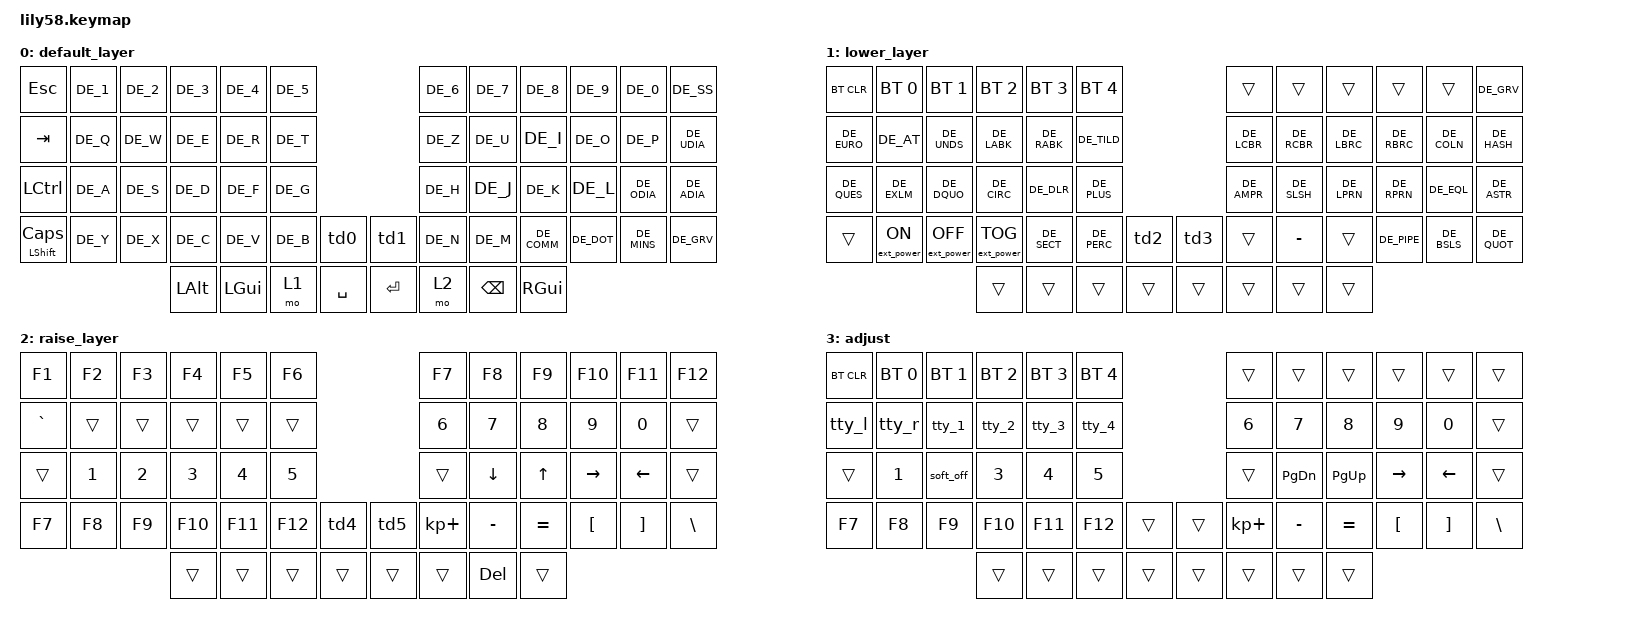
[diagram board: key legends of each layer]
/*
 * Copyright (c) 2020 The ZMK Contributors
 *
 * SPDX-License-Identifier: MIT
 */

/*
Keymap ideas:
+ linux tty keymap: ctrl + alt + F1/2...
+ add a lot of application bindings to third layer to launch different stuff
*/

#include <behaviors.dtsi>
#include <dt-bindings/zmk/keys.h>
#include <dt-bindings/zmk/bt.h>
#include <dt-bindings/zmk/ext_power.h>
#include "keymap_german.h"

// mod tap for shift: hold shift for normal shift, quickly press shift for CAPS
&mt {
    tapping-term-ms = <200>;
};


// third layer when using lower and raise at the same time
/ {
    conditional_layers {
        compatible = "zmk,conditional-layers";
        tri_layer {
            if-layers = <1 2>;
            then-layer = <3>;
        };
    };
};

/ {
  behaviors {
    // tap dance: play/pause, volume down, previous song
      td0: tap_dance_0 {
          compatible = "zmk,behavior-tap-dance";
          #binding-cells = <0>;
          tapping-term-ms = <200>;
          bindings = <&kp C_PP>, <&kp C_VOL_DN>, <&kp C_PREV>;
      };

      // tap dance: music player, volume up, next song
      td1: tap_dance_1 {
          compatible = "zmk,behavior-tap-dance";
          #binding-cells = <0>;
          tapping-term-ms = <200>;
          bindings = <&kp C_AL_MUSIC>, <&kp C_VOL_UP>, <&kp C_NEXT>;
      };

      // tap dance: 変換(use IME), 無変換(deactiveate IME)
      td2: tap_dance_2 {
          compatible = "zmk,behavior-tap-dance";
          #binding-cells = <0>;
          tapping-term-ms = <200>;
          bindings = <&kp INT_HENKAN>, <&kp INT_MUHENKAN>;
      };

      // tap dance: katakana, hiragana
      td3: tap_dance_3 {
          compatible = "zmk,behavior-tap-dance";
          #binding-cells = <0>;
          tapping-term-ms = <200>;
          bindings = <&kp LANG_KATAKANA>, <&kp LANG_HIRAGANA>;
      };

      // tap dance: brightness down, brightness to minimum, auto brightness
      td4: tap_dance_4 {
          compatible = "zmk,behavior-tap-dance";
          #binding-cells = <0>;
          tapping-term-ms = <200>;
          bindings = <&kp C_BRI_DN>, <&kp C_BRI_MIN>, <&kp C_BRI_AUTO>;
      };
      
      // tap dance: brightness up, brightness to maximum, auto brightness
      td5: tap_dance_5 {
          compatible = "zmk,behavior-tap-dance";
          #binding-cells = <0>;
          tapping-term-ms = <200>;
          bindings = <&kp C_BRI_UP>, <&kp C_BRI_MAX>, <&kp C_BRI_AUTO>;
      };
  };
};

/ {
    // on tty go to the tty #(current tty-1), one tty to the left
    macros {
        tty_l: tty_goto_left {
            compatible = "zmk,behavior-macro";
            #binding-cells = <0>;
            bindings
                = <&macro_press &kp LALT>
                , <&macro_tap &kp LEFT>
                , <&macro_release &kp LALT>
                ;
        };

        // on tty go to tty on the right
        tty_r: tty_goto_right {
            compatible = "zmk,behavior-macro";
            #binding-cells = <0>;
            bindings
                = <&macro_press &kp LALT>
                , <&macro_tap &kp RIGHT>
                , <&macro_release &kp LALT>
                ;
        };

      // macros: go to tty 1-12
        tty_1: goto_tty_1 {
            compatible = "zmk,behavior-macro";
            #binding-cells = <0>;
            bindings
                = <&macro_press &kp LCTRL &kp LALT>
                , <&macro_tap &kp F1>
                , <&macro_release &kp LCTRL &kp LALT>
                ;
        };

        tty_2: goto_tty_2 {
            compatible = "zmk,behavior-macro";
            #binding-cells = <0>;
            bindings
                = <&macro_press &kp LCTRL &kp LALT>
                , <&macro_tap &kp F2>
                , <&macro_release &kp LCTRL &kp LALT>
                ;
        };

        tty_3: goto_tty_3 {
            compatible = "zmk,behavior-macro";
            #binding-cells = <0>;
            bindings
                = <&macro_press &kp LCTRL &kp LALT>
                , <&macro_tap &kp F3>
                , <&macro_release &kp LCTRL &kp LALT>
                ;
        };

        tty_4: goto_tty_4 {
            compatible = "zmk,behavior-macro";
            #binding-cells = <0>;
            bindings
                = <&macro_press &kp LCTRL &kp LALT>
                , <&macro_tap &kp F4>
                , <&macro_release &kp LCTRL &kp LALT>
                ;
        };

        // -- defined other tty marcos for completeness
        // tty_5: goto_tty_5 {
        //     label = "goto_tty_5";
        //     compatible = "zmk,behavior-macro";
        //     #binding-cells = <0>;
        //     bindings
        //         = <&macro_press &kp LCTRL &kp LALT>
        //         , <&macro_tap &kp F5>
        //         , <&macro_release &kp LCTRL &kp LALT>
        //         ;
        // };
        //
        // tty_6: goto_tty_6 {
        //     label = "goto_tty_6";
        //     compatible = "zmk,behavior-macro";
        //     #binding-cells = <0>;
        //     bindings
        //         = <&macro_press &kp LCTRL &kp LALT>
        //         , <&macro_tap &kp F6>
        //         , <&macro_release &kp LCTRL &kp LALT>
        //         ;
        // };
        //
        // tty_7: goto_tty_7 {
        //     label = "goto_tty_7";
        //     compatible = "zmk,behavior-macro";
        //     #binding-cells = <0>;
        //     bindings
        //         = <&macro_press &kp LCTRL &kp LALT>
        //         , <&macro_tap &kp F7>
        //         , <&macro_release &kp LCTRL &kp LALT>
        //         ;
        // };
        //
        // tty_8: goto_tty_8 {
        //     label = "goto_tty_8";
        //     compatible = "zmk,behavior-macro";
        //     #binding-cells = <0>;
        //     bindings
        //         = <&macro_press &kp LCTRL &kp LALT>
        //         , <&macro_tap &kp F8>
        //         , <&macro_release &kp LCTRL &kp LALT>
        //         ;
        // };
        //
        // tty_9: goto_tty_9 {
        //     label = "goto_tty_9";
        //     compatible = "zmk,behavior-macro";
        //     #binding-cells = <0>;
        //     bindings
        //         = <&macro_press &kp LCTRL &kp LALT>
        //         , <&macro_tap &kp F9>
        //         , <&macro_release &kp LCTRL &kp LALT>
        //         ;
        // };
        //
        // tty_10: goto_tty_10 {
        //     label = "goto_tty_10";
        //     compatible = "zmk,behavior-macro";
        //     #binding-cells = <0>;
        //     bindings
        //         = <&macro_press &kp LCTRL &kp LALT>
        //         , <&macro_tap &kp F10>
        //         , <&macro_release &kp LCTRL &kp LALT>
        //         ;
        // };
        //
        // tty_11: goto_tty_11 {
        //     label = "goto_tty_11";
        //     compatible = "zmk,behavior-macro";
        //     #binding-cells = <0>;
        //     bindings
        //         = <&macro_press &kp LCTRL &kp LALT>
        //         , <&macro_tap &kp F11>
        //         , <&macro_release &kp LCTRL &kp LALT>
        //         ;
        // };
        //
        // tty_12: goto_tty_12 {
        //     label = "goto_tty_12";
        //     compatible = "zmk,behavior-macro";
        //     #binding-cells = <0>;
        //     bindings
        //         = <&macro_press &kp LCTRL &kp LALT>
        //         , <&macro_tap &kp F12>
        //         , <&macro_release &kp LCTRL &kp LALT>
        //         ;
        // };


    };
};

/ {
	 keymap {
		compatible = "zmk,keymap";

      //------------------------------------------------------------------------------------------------------------------------------------

      // NORMAL

      // |  ESC     |  1    |  2    |  3     |  4     |  5     |                   |  6     |  7      |  8      |  9     |   0   |   `     |
      // |  TAB     |  Q    |  W    |  E     |  R     |  T     |                   |  Y     |  U      |  I      |  O     |   P   |   -     |
      // |  CTRL    |  A    |  S    |  D     |  F     |  G     |                   |  H     |  J      |  K      |  L     |   ;   |   '     |
      // | SHIFT    |  Z    |  X    |  C     |  V     |  B     |   td0  |  |  td1  |  N     |  M      |  ,      |  .     |   /   | SHIFT   |
      //                            |  ALT   | GUI    | LOWER  | SPACE  |  | ENTER | RAISE  | BSPC    | GUI     |

      // LOWER

      //------------------------------------------------------------------------------------------------------------------------------------
      // | BTCLR    | BT1   | BT2   |  BT3   |  BT4   |  BT5   |                   |        |         |         |        |       |    `    |
      // |  F1      |  F2   |  _    |   <    |   >    |   ~    |                   |   {    |    }    |   [     |   ]    |   :   |    #    |
      // |   ?      |  !    |  "    |   ^    |   $    |   +    |                   |   &    |   /     |   (     |   )    |   =   |    *    |
      // |          |       |       |        |   §    |   %    |   td2  |  |  td3  |   n    |   ß     |   "|"   |  |     |   \   |    '    |
      //                            |  ALT   | GUI    | LOWER  | SPACE  |  | ENTER | RAISE  | BSPC    | GUI     |

      // UPPER

      //------------------------------------------------------------------------------------------------------------------------------------
      // |          |       |       |        |        |        |                   |        |         |         |        |       |         |
      // |   `      |  1    |  2    |  3     |  4     |  5     |                   |  6     |   7     |   8     |  9     |   0   |     ü   |
      // |          |  1    |  2    |  3     |  4     |  5     |                   |   h    |   <-    |   v     |  ^     |  ->   |    ä    |
      // |   F7     |  F8   |  F9   |  F10   |  F11   |  F12   |   td4  |  |  td5  |  +     |   ß     |   ´     |  ü     |   +   |   #     |
      //                            |  ALT   | GUI    | LOWER  | SPACE  |  | ENTER | RAISE  | BSPC    | GUI     |

      // ADJUST

      //------------------------------------------------------------------------------------------------------------------------------------
      // |          |       |       |        |        |        |                   |        |         |         |        |       |         |
      // |   `      |  1    |  2    |  3     |  4     |  5     |                   |  6     |   7     |   8     |  9     |   0   |         |
      // |   F1     |  F2   |  F3   |  F4    |  F5    |  F6    |                   |        |   <-    |   v     |  ^     |  ->   |         |
      // |   F7     |  F8   |  F9   |  F10   |  F11   |  F12   |        |  |       |  +     |   -     |   =     |  [     |   ]   |   \     |
      //                            |  ALT   | GUI    | LOWER  | SPACE  |  | ENTER | RAISE  | BSPC    | GUI     |

		default_layer {
			bindings = <
        &kp ESC         &kp DE_1         &kp DE_2          &kp DE_3          &kp DE_4       &kp DE_5                             &kp DE_6    &kp DE_7    &kp DE_8      &kp DE_9     &kp DE_0      &kp DE_SS
        &kp TAB         &kp DE_Q         &kp DE_W          &kp DE_E          &kp DE_R       &kp DE_T                             &kp DE_Z    &kp DE_U    &kp DE_I      &kp DE_O     &kp DE_P      &kp DE_UDIA
        &kp LCTRL       &kp DE_A         &kp DE_S          &kp DE_D          &kp DE_F       &kp DE_G                             &kp DE_H    &kp DE_J    &kp DE_K      &kp DE_L     &kp DE_ODIA   &kp DE_ADIA
        &mt LSHFT CAPS  &kp DE_Y         &kp DE_X          &kp DE_C          &kp DE_V       &kp DE_B     &td0         &td1       &kp DE_N    &kp DE_M    &kp DE_COMM   &kp DE_DOT   &kp DE_MINS   &kp DE_GRV
                                                           &kp LALT          &kp LGUI       &mo 1        &kp SPACE    &kp RET    &mo 2       &kp BSPC    &kp RGUI
			>;
		};

		lower_layer {
			bindings = <
        &bt BT_CLR      &bt BT_SEL 0     &bt BT_SEL 1      &bt BT_SEL 2      &bt BT_SEL 3   &bt BT_SEL 4                         &trans      &trans      &trans        &trans       &trans        &kp DE_GRV
        &kp DE_EURO     &kp DE_AT        &kp DE_UNDS       &kp DE_LABK       &kp DE_RABK    &kp DE_TILD                          &kp DE_LCBR &kp DE_RCBR &kp DE_LBRC   &kp DE_RBRC  &kp DE_COLN   &kp DE_HASH
        &kp DE_QUES     &kp DE_EXLM      &kp DE_DQUO       &kp DE_CIRC       &kp DE_DLR     &kp DE_PLUS                          &kp DE_AMPR &kp DE_SLSH &kp DE_LPRN   &kp DE_RPRN  &kp DE_EQL    &kp DE_ASTR
        &trans          &ext_power EP_ON &ext_power EP_OFF &ext_power EP_TOG &kp DE_SECT    &kp DE_PERC  &td2         &td3       &trans      &kp MINUS   &trans        &kp DE_PIPE  &kp DE_BSLS   &kp DE_QUOT
                                                           &trans            &trans         &trans       &trans       &trans     &trans      &trans      &trans
			>;
		};

		raise_layer {
			bindings = <
        &kp F1          &kp F2           &kp F3            &kp F4            &kp F5         &kp F6                              &kp F7       &kp F8      &kp F9        &kp F10      &kp F11       &kp F12
        &kp GRAVE       &trans           &trans            &trans            &trans         &trans                              &kp N6       &kp N7      &kp N8        &kp N9       &kp N0        &trans
        &trans          &kp N1           &kp N2            &kp N3            &kp N4         &kp N5                              &trans       &kp DOWN    &kp UP        &kp RIGHT    &kp LEFT      &trans
        &kp F7          &kp F8           &kp F9            &kp F10           &kp F11        &kp F12      &td4         &td5      &kp KP_PLUS  &kp MINUS   &kp EQUAL     &kp LBKT     &kp RBKT      &kp BSLH
                                                           &trans            &trans         &trans       &trans       &trans    &trans       &kp DEL     &trans
			>;
		};

    adjust {
      bindings = <      
        &bt BT_CLR      &bt BT_SEL 0     &bt BT_SEL 1      &bt BT_SEL 2      &bt BT_SEL 3   &bt BT_SEL 4                        &trans       &trans      &trans        &trans       &trans        &trans
        &tty_l          &tty_r           &tty_1            &tty_2            &tty_3         &tty_4                              &kp N6       &kp N7      &kp N8        &kp N9       &kp N0        &trans
        &trans          &kp N1           &soft_off         &kp N3            &kp N4         &kp N5                              &trans       &kp PG_DN   &kp PG_UP     &kp RIGHT    &kp LEFT      &trans
        &kp F7          &kp F8           &kp F9            &kp F10           &kp F11        &kp F12      &trans       &trans    &kp KP_PLUS  &kp MINUS   &kp EQUAL     &kp LBKT     &kp RBKT      &kp BSLH
                                                           &trans            &trans         &trans       &trans       &trans    &trans       &trans      &trans
      >;
    };
	};
};
